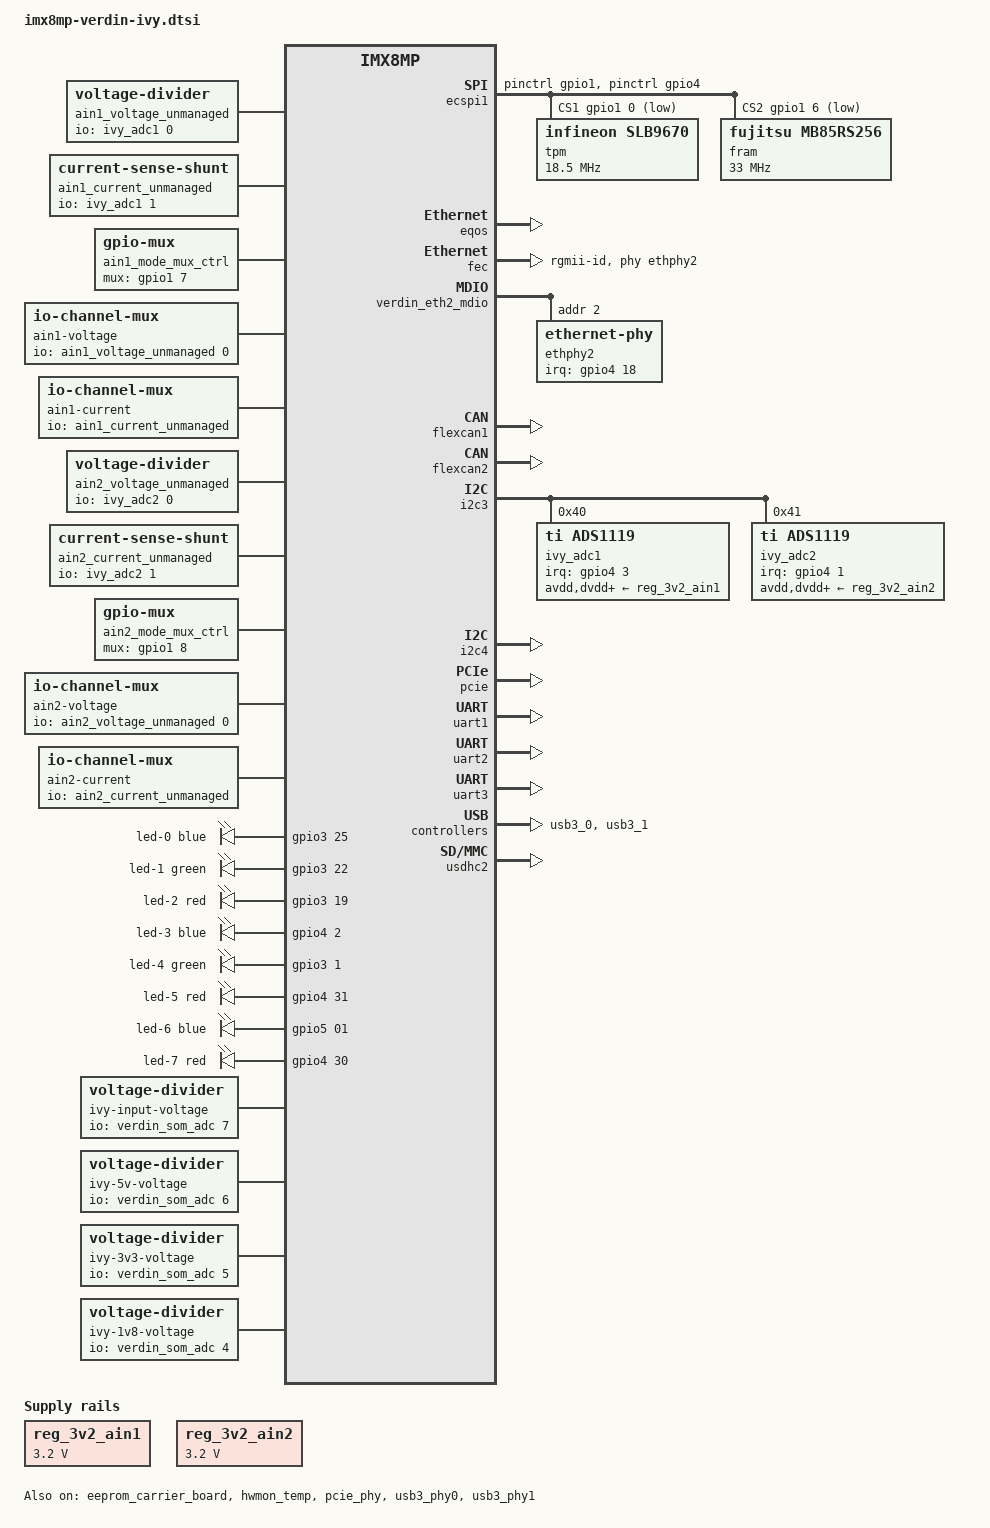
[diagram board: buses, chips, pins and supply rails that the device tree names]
// SPDX-License-Identifier: GPL-2.0-or-later OR MIT
/*
 * Copyright 2024 Toradex
 *
 * Common dtsi for Verdin IMX8MP SoM on Ivy carrier board
 *
 * https://www.toradex.com/computer-on-modules/verdin-arm-family/nxp-imx-8m-plus
 * https://www.toradex.com/products/carrier-board/ivy-carrier-board
 */

#include <dt-bindings/mux/mux.h>
#include <dt-bindings/leds/common.h>
#include <dt-bindings/net/ti-dp83867.h>

/ {
	/* AIN1 Voltage w/o AIN1_MODE gpio control */
	ain1_voltage_unmanaged: voltage-divider-ain1 {
		compatible = "voltage-divider";
		#io-channel-cells = <1>;
		io-channels = <&ivy_adc1 0>;
		full-ohms = <19>;
		output-ohms = <1>;
	};

	/* AIN1 Current w/o AIN1_MODE gpio control */
	ain1_current_unmanaged: current-sense-shunt-ain1 {
		compatible = "current-sense-shunt";
		#io-channel-cells = <0>;
		io-channels = <&ivy_adc1 1>;
		shunt-resistor-micro-ohms = <100000000>;
	};

	/* AIN1_MODE - SODIMM 216 */
	ain1_mode_mux_ctrl: mux-controller-0 {
		compatible = "gpio-mux";
		pinctrl-names = "default";
		pinctrl-0 = <&pinctrl_gpio5>;
		#mux-control-cells = <0>;
		mux-gpios = <&gpio1 7 GPIO_ACTIVE_HIGH>;
	};

	ain1-voltage {
		compatible = "io-channel-mux";
		channels = "ain1_voltage", "";
		io-channels = <&ain1_voltage_unmanaged 0>;
		io-channel-names = "parent";
		mux-controls = <&ain1_mode_mux_ctrl>;
		settle-time-us = <1000>;
	};

	ain1-current {
		compatible = "io-channel-mux";
		channels = "", "ain1_current";
		io-channels = <&ain1_current_unmanaged>;
		io-channel-names = "parent";
		mux-controls = <&ain1_mode_mux_ctrl>;
		settle-time-us = <1000>;
	};

	/* AIN2 Voltage w/o AIN2_MODE gpio control */
	ain2_voltage_unmanaged: voltage-divider-ain2 {
		compatible = "voltage-divider";
		#io-channel-cells = <1>;
		io-channels = <&ivy_adc2 0>;
		full-ohms = <19>;
		output-ohms = <1>;
	};

	/* AIN2 Current w/o AIN2_MODE gpio control */
	ain2_current_unmanaged: current-sense-shunt-ain2 {
		compatible = "current-sense-shunt";
		#io-channel-cells = <0>;
		io-channels = <&ivy_adc2 1>;
		shunt-resistor-micro-ohms = <100000000>;
	};

	/* AIN2_MODE - SODIMM 218 */
	ain2_mode_mux_ctrl: mux-controller-1 {
		compatible = "gpio-mux";
		pinctrl-names = "default";
		pinctrl-0 = <&pinctrl_gpio6>;
		#mux-control-cells = <0>;
		mux-gpios = <&gpio1 8 GPIO_ACTIVE_HIGH>;
	};

	ain2-voltage {
		compatible = "io-channel-mux";
		channels = "ain2_voltage", "";
		io-channels = <&ain2_voltage_unmanaged 0>;
		io-channel-names = "parent";
		mux-controls = <&ain2_mode_mux_ctrl>;
		settle-time-us = <1000>;
	};

	ain2-current {
		compatible = "io-channel-mux";
		channels = "", "ain2_current";
		io-channels = <&ain2_current_unmanaged>;
		io-channel-names = "parent";
		mux-controls = <&ain2_mode_mux_ctrl>;
		settle-time-us = <1000>;
	};

	leds {
		compatible = "gpio-leds";
		pinctrl-names = "default";
		pinctrl-0 = <&pinctrl_ivy_leds>;

		/* D7 Blue - SODIMM 30 - LEDs.GPIO1 */
		led-0 {
			color = <LED_COLOR_ID_BLUE>;
			default-state = "off";
			function = LED_FUNCTION_STATUS;
			function-enumerator = <1>;
			gpios = <&gpio3 25 GPIO_ACTIVE_HIGH>;
		};

		/* D7 Green - SODIMM 32 - LEDs.GPIO2 */
		led-1 {
			color = <LED_COLOR_ID_GREEN>;
			default-state = "off";
			function = LED_FUNCTION_STATUS;
			function-enumerator = <1>;
			gpios = <&gpio3 22 GPIO_ACTIVE_HIGH>;
		};

		/* D7 Red - SODIMM 34 - LEDs.GPIO3 */
		led-2 {
			color = <LED_COLOR_ID_RED>;
			default-state = "off";
			function = LED_FUNCTION_STATUS;
			function-enumerator = <1>;
			gpios = <&gpio3 19 GPIO_ACTIVE_HIGH>;
		};

		/* D8 Blue - SODIMM 36 - LEDs.GPIO4 */
		led-3 {
			color = <LED_COLOR_ID_BLUE>;
			default-state = "off";
			function = LED_FUNCTION_STATUS;
			function-enumerator = <2>;
			gpios = <&gpio4 2 GPIO_ACTIVE_HIGH>;
		};

		/* D8 Green - SODIMM 54 - LEDs.GPIO5 */
		led-4 {
			color = <LED_COLOR_ID_GREEN>;
			default-state = "off";
			function = LED_FUNCTION_STATUS;
			function-enumerator = <2>;
			gpios = <&gpio3 1 GPIO_ACTIVE_HIGH>;
		};

		/* D8 Red - SODIMM 44 - LEDs.GPIO6 */
		led-5 {
			color = <LED_COLOR_ID_RED>;
			default-state = "off";
			function = LED_FUNCTION_STATUS;
			function-enumerator = <2>;
			gpios = <&gpio4 31 GPIO_ACTIVE_HIGH>;
		};

		/* D9 Blue - SODIMM 46 - LEDs.GPIO7 */
		led-6 {
			color = <LED_COLOR_ID_BLUE>;
			default-state = "off";
			function = LED_FUNCTION_STATUS;
			function-enumerator = <3>;
			gpios = <&gpio5 01 GPIO_ACTIVE_HIGH>;
		};

		/* D9 Red - SODIMM 48 - LEDs.GPIO8 */
		led-7 {
			color = <LED_COLOR_ID_RED>;
			default-state = "off";
			function = LED_FUNCTION_STATUS;
			function-enumerator = <3>;
			gpios = <&gpio4 30 GPIO_ACTIVE_HIGH>;
		};
	};

	reg_3v2_ain1: regulator-3v2-ain1 {
		compatible = "regulator-fixed";
		regulator-max-microvolt = <3200000>;
		regulator-min-microvolt = <3200000>;
		regulator-name = "+3V2_AIN1";
	};

	reg_3v2_ain2: regulator-3v2-ain2 {
		compatible = "regulator-fixed";
		regulator-max-microvolt = <3200000>;
		regulator-min-microvolt = <3200000>;
		regulator-name = "+3V2_AIN2";
	};

	/* Ivy Power Supply Input Voltage */
	ivy-input-voltage {
		compatible = "voltage-divider";
		/* Verdin ADC_1 */
		io-channels = <&verdin_som_adc 7>;
		full-ohms = <204700>; /* 200k + 4.7k */
		output-ohms = <4700>;
	};

	ivy-5v-voltage {
		compatible = "voltage-divider";
		/* Verdin ADC_2 */
		io-channels = <&verdin_som_adc 6>;
		full-ohms = <39000>; /* 27k + 12k */
		output-ohms = <12000>;
	};

	ivy-3v3-voltage {
		compatible = "voltage-divider";
		/* Verdin ADC_3 */
		io-channels = <&verdin_som_adc 5>;
		full-ohms = <54000>; /* 27k + 27k */
		output-ohms = <27000>;
	};

	ivy-1v8-voltage {
		compatible = "voltage-divider";
		/* Verdin ADC_4 */
		io-channels = <&verdin_som_adc 4>;
		full-ohms = <39000>; /* 12k + 27k */
		output-ohms = <27000>;
	};
};

/* Verdin SPI_1 */
&ecspi1 {
	pinctrl-0 = <&pinctrl_ecspi1>,
		    <&pinctrl_gpio1>,
		    <&pinctrl_gpio4>;
	cs-gpios = <&gpio5 9 GPIO_ACTIVE_LOW>,
		   <&gpio1 0 GPIO_ACTIVE_LOW>,
		   <&gpio1 6 GPIO_ACTIVE_LOW>;
	status = "okay";

	tpm@1 {
		compatible = "infineon,slb9670", "tcg,tpm_tis-spi";
		reg = <1>;
		spi-max-frequency = <18500000>;
	};

	fram@2 {
		compatible = "fujitsu,mb85rs256", "atmel,at25";
		reg = <2>;
		address-width = <16>;
		size = <32768>;
		spi-max-frequency = <33000000>;
		pagesize = <1>;
	};
};

/* EEPROM on Ivy */
&eeprom_carrier_board {
	status = "okay";
};

/* Verdin ETH_1 */
&eqos {
	status = "okay";
};

/* Verdin ETH_2 */
&fec {
	phy-handle = <&ethphy2>;
	phy-mode = "rgmii-id";
	status = "okay";
};

&verdin_eth2_mdio {
	ethphy2: ethernet-phy@2 {
		reg = <2>;
		interrupt-parent = <&gpio4>;
		interrupts = <18 IRQ_TYPE_LEVEL_LOW>;
		ti,rx-internal-delay = <DP83867_RGMIIDCTL_2_00_NS>;
		ti,tx-internal-delay = <DP83867_RGMIIDCTL_2_00_NS>;
	};
};

/* Verdin CAN_1 */
&flexcan1 {
	status = "okay";
};

/* Verdin CAN_2 */
&flexcan2 {
	status = "okay";
};

&gpio1 {
	gpio-line-names =
		"", /* 0 */
		"GPIO2", /* Verdin GPIO_2 - SODIMM 208 */
		"",
		"",
		"",
		"GPIO3", /* Verdin GPIO_3 - SODIMM 210 */
		"",
		"",
		"",
		"",
		"",
		"", /* 10 */
		"",
		"",
		"",
		"",
		"",
		"",
		"",
		"",
		"",
		"", /* 20 */
		"",
		"",
		"",
		"",
		"",
		"",
		"",
		"",
		"";
};

&gpio3 {
	gpio-line-names =
		"", /* 0 */
		"",
		"",
		"",
		"",
		"",
		"DIG_1", /* SODIMM 56 */
		"DIG_2", /* SODIMM 58 */
		"REL1",  /* SODIMM 60 */
		"REL2",  /* SODIMM 62 */
		"", /* 10 */
		"",
		"",
		"",
		"REL4", /* SODIMM 66 */
		"",
		"REL3", /* SODIMM 64 */
		"",
		"",
		"",
		"", /* 20 */
		"",
		"",
		"",
		"",
		"",
		"",
		"",
		"",
		"";
};

/* Temperature sensor on Ivy */
&hwmon_temp {
	compatible = "ti,tmp1075";
	status = "okay";
};

/* Verdin I2C_4 CSI */
&i2c3 {
	status = "okay";

	ivy_adc1: adc@40 {
		compatible = "ti,ads1119";
		reg = <0x40>;
		pinctrl-names = "default";
		pinctrl-0 = <&pinctrl_gpio7>;
		interrupt-parent = <&gpio4>;
		interrupts = <3 IRQ_TYPE_EDGE_FALLING>;
		avdd-supply = <&reg_3v2_ain1>;
		dvdd-supply = <&reg_3v2_ain1>;
		vref-supply = <&reg_3v2_ain1>;
		#address-cells = <1>;
		#io-channel-cells = <1>;
		#size-cells = <0>;

		/* AIN1 0-33V Voltage Input */
		channel@0 {
			reg = <0>;
			diff-channels = <0 1>;
		};

		/* AIN1 0-20mA Current Input */
		channel@1 {
			reg = <1>;
			diff-channels = <2 3>;
		};
	};

	ivy_adc2: adc@41 {
		compatible = "ti,ads1119";
		reg = <0x41>;
		pinctrl-names = "default";
		pinctrl-0 = <&pinctrl_gpio8>;
		interrupt-parent = <&gpio4>;
		interrupts = <1 IRQ_TYPE_EDGE_FALLING>;
		avdd-supply = <&reg_3v2_ain2>;
		dvdd-supply = <&reg_3v2_ain2>;
		vref-supply = <&reg_3v2_ain2>;
		#address-cells = <1>;
		#io-channel-cells = <1>;
		#size-cells = <0>;

		/* AIN2 0-33V Voltage Input */
		channel@0 {
			reg = <0>;
			diff-channels = <0 1>;
		};

		/* AIN2 0-20mA Current Input */
		channel@1 {
			reg = <1>;
			diff-channels = <2 3>;
		};
	};
};

/* Verdin I2C_1 */
&i2c4 {
	status = "okay";
};

/* Verdin PCIE_1 */
&pcie {
	status = "okay";
};

&pcie_phy {
	status = "okay";
};

/* Verdin UART_1 */
&uart1 {
	status = "okay";
};

/* Verdin UART_2 */
&uart2 {
	linux,rs485-enabled-at-boot-time;
	rs485-rx-during-tx;
	status = "okay";
};

/* Verdin UART_3 */
&uart3 {
	status = "okay";
};

/* Verdin USB_1 */
&usb3_0 {
	status = "okay";
};

&usb3_phy0 {
	status = "okay";
};

/* Verdin USB_2 */
&usb3_1 {
	status = "okay";
};

&usb3_phy1 {
	status = "okay";
};

/* Verdin SD_1 */
&usdhc2 {
	status = "okay";
};

&iomuxc {

	pinctrl-names = "default";
	pinctrl-0 = <&pinctrl_gpio2>, <&pinctrl_gpio3>,
		    <&pinctrl_ivy_dig_inputs>, <&pinctrl_ivy_relays>;

	pinctrl_ivy_dig_inputs: ivydiginputsgrp {
		fsl,pins =
			<MX8MP_IOMUXC_NAND_DATA00__GPIO3_IO06	0x96>, /* SODIMM 56 */
			<MX8MP_IOMUXC_NAND_DATA01__GPIO3_IO07	0x96>; /* SODIMM 58 */
	};

	pinctrl_ivy_leds: ivyledsgrp {
		fsl,pins =
			<MX8MP_IOMUXC_SAI5_MCLK__GPIO3_IO25	0x16>, /* SODIMM 30 */
			<MX8MP_IOMUXC_SAI5_RXD1__GPIO3_IO22	0x16>, /* SODIMM 32 */
			<MX8MP_IOMUXC_SAI5_RXFS__GPIO3_IO19	0x16>, /* SODIMM 34 */
			<MX8MP_IOMUXC_SAI1_RXD0__GPIO4_IO02	0x16>, /* SODIMM 36 */
			<MX8MP_IOMUXC_SAI3_TXFS__GPIO4_IO31	0x16>, /* SODIMM 44 */
			<MX8MP_IOMUXC_SAI3_TXD__GPIO5_IO01	0x16>, /* SODIMM 46 */
			<MX8MP_IOMUXC_SAI3_RXD__GPIO4_IO30	0x16>, /* SODIMM 48 */
			<MX8MP_IOMUXC_NAND_CE0_B__GPIO3_IO01	0x16>; /* SODIMM 54 */
	};

	pinctrl_ivy_relays: ivyrelaysgrp {
		fsl,pins =
			<MX8MP_IOMUXC_NAND_DATA02__GPIO3_IO08	0x16>, /* SODIMM 60 */
			<MX8MP_IOMUXC_NAND_DATA03__GPIO3_IO09	0x16>, /* SODIMM 62 */
			<MX8MP_IOMUXC_NAND_READY_B__GPIO3_IO16	0x16>, /* SODIMM 64 */
			<MX8MP_IOMUXC_NAND_DQS__GPIO3_IO14	0x16>; /* SODIMM 66 */
	};
};
